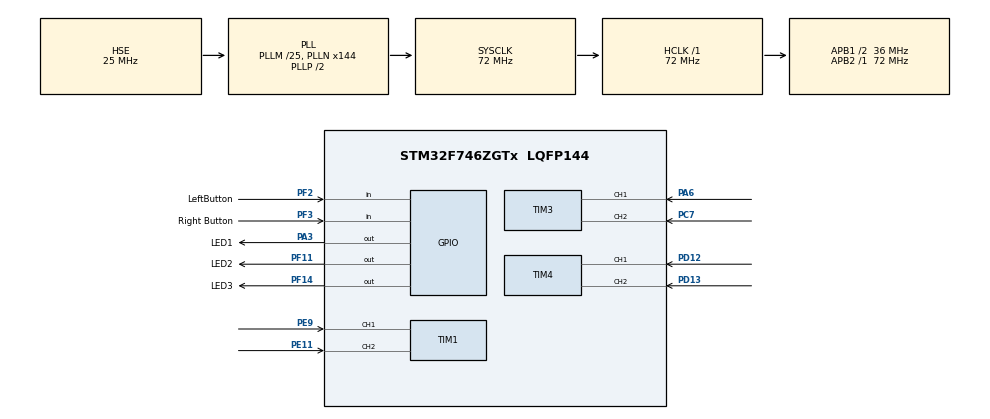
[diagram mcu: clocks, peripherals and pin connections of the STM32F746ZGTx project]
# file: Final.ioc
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Mcu.Family=STM32F7
Mcu.Name=STM32F746ZGTx
Mcu.Package=LQFP144
NVIC.PriorityGroup=NVIC_PRIORITYGROUP_4
NVIC.RCC_IRQn=true\:0\:0\:false\:false\:true\:true\:false\:true
NVIC.TIM8_TRG_COM_TIM14_IRQn=true\:0\:0\:false\:false\:true\:true\:true\:true
PA13.Mode=Serial_Wire
PA13.Signal=SYS_JTMS-SWDIO
PA14.Mode=Serial_Wire
PA14.Signal=SYS_JTCK-SWCLK
PA3.GPIO_Label=LED1
PA3.Signal=GPIO_Output
PA6.Signal=S_TIM3_CH1
PC7.Signal=S_TIM3_CH2
PD12.Signal=S_TIM4_CH1
PD13.Signal=S_TIM4_CH2
PE11.Signal=S_TIM1_CH2
PE9.Signal=S_TIM1_CH1
PF11.GPIO_Label=LED2
PF11.Signal=GPIO_Output
PF14.GPIO_Label=LED3
PF14.Signal=GPIO_Output
PF2.GPIO_Label=LeftButton
PF2.Signal=GPIO_Input
PF3.GPIO_Label=Right Button
PF3.Signal=GPIO_Input
PH0/OSC_IN.Mode=HSE-External-Oscillator
PH0/OSC_IN.Signal=RCC_OSC_IN
PH1/OSC_OUT.Mode=HSE-External-Oscillator
PH1/OSC_OUT.Signal=RCC_OSC_OUT
ProjectManager.HeapSize=0x200
ProjectManager.StackSize=0x400
ProjectManager.TargetToolchain=STM32CubeIDE
RCC.AHBFreq_Value=72000000
RCC.APB1CLKDivider=RCC_HCLK_DIV2
RCC.APB1Freq_Value=36000000
RCC.APB1TimFreq_Value=72000000
RCC.APB2Freq_Value=72000000
RCC.APB2TimFreq_Value=72000000
RCC.CortexFreq_Value=72000000
RCC.HCLKFreq_Value=72000000
RCC.HSE_VALUE=25000000
RCC.HSI_VALUE=16000000
RCC.LSE_VALUE=32768
RCC.PLLM=25
RCC.PLLN=144
RCC.PLLSourceVirtual=RCC_PLLSOURCE_HSE
RCC.SYSCLKFreq_VALUE=72000000
RCC.SYSCLKSource=RCC_SYSCLKSOURCE_PLLCLK
RCC.USBFreq_Value=72000000
RCC.VCOOutputFreq_Value=144000000
SH.S_TIM1_CH1.0=TIM1_CH1,Encoder_Interface
SH.S_TIM1_CH2.0=TIM1_CH2,Encoder_Interface
SH.S_TIM3_CH1.0=TIM3_CH1,Encoder_Interface
SH.S_TIM3_CH2.0=TIM3_CH2,Encoder_Interface
SH.S_TIM4_CH1.0=TIM4_CH1,Encoder_Interface
SH.S_TIM4_CH2.0=TIM4_CH2,Encoder_Interface
TIM1.AutoReloadPreload=TIM_AUTORELOAD_PRELOAD_ENABLE
TIM1.EncoderMode=TIM_ENCODERMODE_TI12
TIM1.IC1Filter=10
TIM1.IC2Filter=10
TIM14.AutoReloadPreload=TIM_AUTORELOAD_PRELOAD_ENABLE
TIM14.Period=2000
TIM3.AutoReloadPreload=TIM_AUTORELOAD_PRELOAD_ENABLE
TIM3.EncoderMode=TIM_ENCODERMODE_TI12
TIM3.IC1Filter=10
TIM3.IC2Filter=10
TIM4.AutoReloadPreload=TIM_AUTORELOAD_PRELOAD_ENABLE
TIM4.EncoderMode=TIM_ENCODERMODE_TI12
TIM4.IC1Filter=10
TIM4.IC2Filter=10
VP_TIM14_VS_ClockSourceINT.Mode=Enable_Timer
board=custom

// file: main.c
/* USER CODE BEGIN Header */
/**
  ******************************************************************************
  * @file           : main.c
  * @brief          : Main program body
  ******************************************************************************
  * @attention
  *
  * Copyright (c) 2024 STMicroelectronics.
  * All rights reserved.
  *
  * This software is licensed under terms that can be found in the LICENSE file
  * in the root directory of this software component.
  * If no LICENSE file comes with this software, it is provided AS-IS.
  *
  ******************************************************************************
  */
/* USER CODE END Header */
#include "main.h"

/* USER CODE BEGIN Includes */
	#include "stdio.h"
/* USER CODE END Includes */

TIM_HandleTypeDef htim1;
TIM_HandleTypeDef htim3;
TIM_HandleTypeDef htim4;
TIM_HandleTypeDef htim14;

/* USER CODE BEGIN PV */
int select = 0; //LED Select
int state[2] = {0, 0}; //States for LR Buttons
int tDelay[3] = {50,50,50}; //Delays from Counters
int ConfLvl[2] = {0,0};
int ConfT = 250;
/* USER CODE END PV */

void SystemClock_Config(void);
static void MX_GPIO_Init(void);
static void MX_TIM1_Init(void);
static void MX_TIM14_Init(void);
static void MX_TIM3_Init(void);
static void MX_TIM4_Init(void);
/* USER CODE BEGIN PFP */

int _write(int file, char *ptr, int len)
{
  /* Implement your write code here. This is
     used by puts and printf for example */
  int i=0;
  for(i=0 ; i<len ; i++)
    ITM_SendChar((*ptr++));
  return len;
}

/* USER CODE END PFP */

int main(void)
{
  /* USER CODE BEGIN 1 */
  printf("Starting...");
  /* USER CODE END 1 */

  /* MCU Configuration--------------------------------------------------------*/

  /* Reset of all peripherals, Initializes the Flash interface and the Systick. */
  HAL_Init();

  /* Configure the system clock */
  SystemClock_Config();

  /* Initialize all configured peripherals */
  MX_GPIO_Init();
  MX_TIM1_Init();
  MX_TIM14_Init();
  MX_TIM3_Init();
  MX_TIM4_Init();
  /* USER CODE BEGIN 2 */
//  HAL_TIM_Base_Start_IT(&htim14);
//  HAL_TIM_Base_Start_IT(&htim13);
  HAL_TIM_Encoder_Start(&htim1, TIM_CHANNEL_ALL);
  HAL_TIM_Encoder_Start(&htim3, TIM_CHANNEL_ALL);
  HAL_TIM_Encoder_Start(&htim4, TIM_CHANNEL_ALL);
  HAL_TIM_Base_Start_IT(&htim14);
  /* USER CODE END 2 */

  /* Infinite loop */
  /* USER CODE BEGIN WHILE */
  //----- Test LEDS -----//
  HAL_GPIO_WritePin(GPIOA, GPIO_PIN_3, GPIO_PIN_SET);
  HAL_Delay(500);
  HAL_GPIO_WritePin(GPIOA, GPIO_PIN_3, GPIO_PIN_RESET);

  HAL_GPIO_WritePin(GPIOF, GPIO_PIN_11, GPIO_PIN_SET);
  HAL_Delay(500);
  HAL_GPIO_WritePin(GPIOF, GPIO_PIN_11, GPIO_PIN_RESET);

  HAL_GPIO_WritePin(GPIOF, GPIO_PIN_14, GPIO_PIN_SET);
  HAL_Delay(500);
  HAL_GPIO_WritePin(GPIOF, GPIO_PIN_14, GPIO_PIN_RESET);
  while (1)
  {
    /* USER CODE END WHILE */

    /* USER CODE BEGIN 3 */
// ----- Button Test ----- //
//	HAL_GPIO_TogglePin(GPIOF, GPIO_PIN_11);
//	HAL_GPIO_TogglePin(GPIOA, GPIO_PIN_3);
//	HAL_GPIO_TogglePin(GPIOF, GPIO_PIN_14);
//	HAL_Delay(250);
//	if(HAL_GPIO_ReadPin(GPIOF, GPIO_PIN_2) == 1){HAL_GPIO_TogglePin(GPIOA, GPIO_PIN_3);}
//	if(HAL_GPIO_ReadPin(GPIOF, GPIO_PIN_3) == 1){HAL_GPIO_TogglePin(GPIOA, GPIO_PIN_3);}

// ----- Encoder Test ----- //
	if(select == 0){ //RED
		HAL_GPIO_WritePin(GPIOF, GPIO_PIN_11, GPIO_PIN_RESET);
		HAL_GPIO_WritePin(GPIOF, GPIO_PIN_14, GPIO_PIN_RESET);

		if(TIM1->CNT < 1023){
			tDelay[0] = ((TIM1->CNT) << 3);
		}
		HAL_Delay(tDelay[0]);
		HAL_GPIO_TogglePin(GPIOA, GPIO_PIN_3);

	}
	if(select == 1) { //BLUE
		HAL_GPIO_WritePin(GPIOA, GPIO_PIN_3, GPIO_PIN_RESET);
		HAL_GPIO_WritePin(GPIOF, GPIO_PIN_14, GPIO_PIN_RESET);

		if(TIM3->CNT < 1023){
			tDelay[1] = ((TIM3->CNT) << 3);
		}
		HAL_Delay(tDelay[1]);
		HAL_GPIO_TogglePin(GPIOF, GPIO_PIN_11);

	}
	if(select == 2) { //GREEN
		HAL_GPIO_WritePin(GPIOA, GPIO_PIN_3, GPIO_PIN_RESET);
		HAL_GPIO_WritePin(GPIOF, GPIO_PIN_11, GPIO_PIN_RESET);

		if(TIM4->CNT < 1023){
			tDelay[2] = ((TIM4->CNT) << 3);
		}
		HAL_Delay(tDelay[2]);
		HAL_GPIO_TogglePin(GPIOF, GPIO_PIN_14);
	}

  }
  /* USER CODE END 3 */
}

void SystemClock_Config(void)
{
  RCC_OscInitTypeDef RCC_OscInitStruct = {0};
  RCC_ClkInitTypeDef RCC_ClkInitStruct = {0};

  /** Configure the main internal regulator output voltage
  */
  __HAL_RCC_PWR_CLK_ENABLE();
  __HAL_PWR_VOLTAGESCALING_CONFIG(PWR_REGULATOR_VOLTAGE_SCALE3);

  /** Initializes the RCC Oscillators according to the specified parameters
  * in the RCC_OscInitTypeDef structure.
  */
  RCC_OscInitStruct.OscillatorType = RCC_OSCILLATORTYPE_HSE;
  RCC_OscInitStruct.HSEState = RCC_HSE_ON;
  RCC_OscInitStruct.PLL.PLLState = RCC_PLL_ON;
  RCC_OscInitStruct.PLL.PLLSource = RCC_PLLSOURCE_HSE;
  RCC_OscInitStruct.PLL.PLLM = 25;
  RCC_OscInitStruct.PLL.PLLN = 144;
  RCC_OscInitStruct.PLL.PLLP = RCC_PLLP_DIV2;
  RCC_OscInitStruct.PLL.PLLQ = 2;
  if (HAL_RCC_OscConfig(&RCC_OscInitStruct) != HAL_OK)
  {
    Error_Handler();
  }

  /** Initializes the CPU, AHB and APB buses clocks
  */
  RCC_ClkInitStruct.ClockType = RCC_CLOCKTYPE_HCLK|RCC_CLOCKTYPE_SYSCLK
                              |RCC_CLOCKTYPE_PCLK1|RCC_CLOCKTYPE_PCLK2;
  RCC_ClkInitStruct.SYSCLKSource = RCC_SYSCLKSOURCE_PLLCLK;
  RCC_ClkInitStruct.AHBCLKDivider = RCC_SYSCLK_DIV1;
  RCC_ClkInitStruct.APB1CLKDivider = RCC_HCLK_DIV2;
  RCC_ClkInitStruct.APB2CLKDivider = RCC_HCLK_DIV1;

  if (HAL_RCC_ClockConfig(&RCC_ClkInitStruct, FLASH_LATENCY_2) != HAL_OK)
  {
    Error_Handler();
  }
}

static void MX_TIM1_Init(void)
{

  TIM_Encoder_InitTypeDef sConfig = {0};
  TIM_MasterConfigTypeDef sMasterConfig = {0};

  htim1.Instance = TIM1;
  htim1.Init.Prescaler = 0;
  htim1.Init.CounterMode = TIM_COUNTERMODE_UP;
  htim1.Init.Period = 65535;
  htim1.Init.ClockDivision = TIM_CLOCKDIVISION_DIV1;
  htim1.Init.RepetitionCounter = 0;
  htim1.Init.AutoReloadPreload = TIM_AUTORELOAD_PRELOAD_ENABLE;
  sConfig.EncoderMode = TIM_ENCODERMODE_TI12;
  sConfig.IC1Polarity = TIM_ICPOLARITY_RISING;
  sConfig.IC1Selection = TIM_ICSELECTION_DIRECTTI;
  sConfig.IC1Prescaler = TIM_ICPSC_DIV1;
  sConfig.IC1Filter = 10;
  sConfig.IC2Polarity = TIM_ICPOLARITY_RISING;
  sConfig.IC2Selection = TIM_ICSELECTION_DIRECTTI;
  sConfig.IC2Prescaler = TIM_ICPSC_DIV1;
  sConfig.IC2Filter = 10;
  if (HAL_TIM_Encoder_Init(&htim1, &sConfig) != HAL_OK)
  {
    Error_Handler();
  }
  sMasterConfig.MasterOutputTrigger = TIM_TRGO_RESET;
  sMasterConfig.MasterOutputTrigger2 = TIM_TRGO2_RESET;
  sMasterConfig.MasterSlaveMode = TIM_MASTERSLAVEMODE_DISABLE;
  if (HAL_TIMEx_MasterConfigSynchronization(&htim1, &sMasterConfig) != HAL_OK)
  {
    Error_Handler();
  }

}

static void MX_TIM3_Init(void)
{

  TIM_Encoder_InitTypeDef sConfig = {0};
  TIM_MasterConfigTypeDef sMasterConfig = {0};

  htim3.Instance = TIM3;
  htim3.Init.Prescaler = 0;
  htim3.Init.CounterMode = TIM_COUNTERMODE_UP;
  htim3.Init.Period = 65535;
  htim3.Init.ClockDivision = TIM_CLOCKDIVISION_DIV1;
  htim3.Init.AutoReloadPreload = TIM_AUTORELOAD_PRELOAD_ENABLE;
  sConfig.EncoderMode = TIM_ENCODERMODE_TI12;
  sConfig.IC1Polarity = TIM_ICPOLARITY_RISING;
  sConfig.IC1Selection = TIM_ICSELECTION_DIRECTTI;
  sConfig.IC1Prescaler = TIM_ICPSC_DIV1;
  sConfig.IC1Filter = 10;
  sConfig.IC2Polarity = TIM_ICPOLARITY_RISING;
  sConfig.IC2Selection = TIM_ICSELECTION_DIRECTTI;
  sConfig.IC2Prescaler = TIM_ICPSC_DIV1;
  sConfig.IC2Filter = 10;
  if (HAL_TIM_Encoder_Init(&htim3, &sConfig) != HAL_OK)
  {
    Error_Handler();
  }
  sMasterConfig.MasterOutputTrigger = TIM_TRGO_RESET;
  sMasterConfig.MasterSlaveMode = TIM_MASTERSLAVEMODE_DISABLE;
  if (HAL_TIMEx_MasterConfigSynchronization(&htim3, &sMasterConfig) != HAL_OK)
  {
    Error_Handler();
  }

}

static void MX_TIM4_Init(void)
{

  TIM_Encoder_InitTypeDef sConfig = {0};
  TIM_MasterConfigTypeDef sMasterConfig = {0};

  htim4.Instance = TIM4;
  htim4.Init.Prescaler = 0;
  htim4.Init.CounterMode = TIM_COUNTERMODE_UP;
  htim4.Init.Period = 65535;
  htim4.Init.ClockDivision = TIM_CLOCKDIVISION_DIV1;
  htim4.Init.AutoReloadPreload = TIM_AUTORELOAD_PRELOAD_ENABLE;
  sConfig.EncoderMode = TIM_ENCODERMODE_TI12;
  sConfig.IC1Polarity = TIM_ICPOLARITY_RISING;
  sConfig.IC1Selection = TIM_ICSELECTION_DIRECTTI;
  sConfig.IC1Prescaler = TIM_ICPSC_DIV1;
  sConfig.IC1Filter = 10;
  sConfig.IC2Polarity = TIM_ICPOLARITY_RISING;
  sConfig.IC2Selection = TIM_ICSELECTION_DIRECTTI;
  sConfig.IC2Prescaler = TIM_ICPSC_DIV1;
  sConfig.IC2Filter = 10;
  if (HAL_TIM_Encoder_Init(&htim4, &sConfig) != HAL_OK)
  {
    Error_Handler();
  }
  sMasterConfig.MasterOutputTrigger = TIM_TRGO_RESET;
  sMasterConfig.MasterSlaveMode = TIM_MASTERSLAVEMODE_DISABLE;
  if (HAL_TIMEx_MasterConfigSynchronization(&htim4, &sMasterConfig) != HAL_OK)
  {
    Error_Handler();
  }

}

static void MX_TIM14_Init(void)
{

  htim14.Instance = TIM14;
  htim14.Init.Prescaler = 0;
  htim14.Init.CounterMode = TIM_COUNTERMODE_UP;
  htim14.Init.Period = 2000;
  htim14.Init.ClockDivision = TIM_CLOCKDIVISION_DIV1;
  htim14.Init.AutoReloadPreload = TIM_AUTORELOAD_PRELOAD_ENABLE;
  if (HAL_TIM_Base_Init(&htim14) != HAL_OK)
  {
    Error_Handler();
  }

}

static void MX_GPIO_Init(void)
{
  GPIO_InitTypeDef GPIO_InitStruct = {0};

  /* GPIO Ports Clock Enable */
  __HAL_RCC_GPIOF_CLK_ENABLE();
  __HAL_RCC_GPIOH_CLK_ENABLE();
  __HAL_RCC_GPIOA_CLK_ENABLE();
  __HAL_RCC_GPIOE_CLK_ENABLE();
  __HAL_RCC_GPIOD_CLK_ENABLE();
  __HAL_RCC_GPIOC_CLK_ENABLE();

  /*Configure GPIO pin Output Level */
  HAL_GPIO_WritePin(LED1_GPIO_Port, LED1_Pin, GPIO_PIN_RESET);

  /*Configure GPIO pin Output Level */
  HAL_GPIO_WritePin(GPIOF, LED2_Pin|LED3_Pin, GPIO_PIN_RESET);

  /*Configure GPIO pins : LeftButton_Pin Right_Button_Pin */
  GPIO_InitStruct.Pin = LeftButton_Pin|Right_Button_Pin;
  GPIO_InitStruct.Mode = GPIO_MODE_INPUT;
  GPIO_InitStruct.Pull = GPIO_NOPULL;
  HAL_GPIO_Init(GPIOF, &GPIO_InitStruct);

  /*Configure GPIO pin : LED1_Pin */
  GPIO_InitStruct.Pin = LED1_Pin;
  GPIO_InitStruct.Mode = GPIO_MODE_OUTPUT_PP;
  GPIO_InitStruct.Pull = GPIO_NOPULL;
  GPIO_InitStruct.Speed = GPIO_SPEED_FREQ_LOW;
  HAL_GPIO_Init(LED1_GPIO_Port, &GPIO_InitStruct);

  /*Configure GPIO pins : LED2_Pin LED3_Pin */
  GPIO_InitStruct.Pin = LED2_Pin|LED3_Pin;
  GPIO_InitStruct.Mode = GPIO_MODE_OUTPUT_PP;
  GPIO_InitStruct.Pull = GPIO_NOPULL;
  GPIO_InitStruct.Speed = GPIO_SPEED_FREQ_LOW;
  HAL_GPIO_Init(GPIOF, &GPIO_InitStruct);

}

/* USER CODE BEGIN 4 */
void crement_select(int way){
	if(select == 0 && (way == -1)){select = 2;}
	else if(select == 2 && (way == 1)){select = 0;}
	else select = select + way;
}

void HAL_GPIO_EXTI_Callback(uint16_t GPIO_Pin){
}

void HAL_TIM_PeriodElapsedCallback(TIM_HandleTypeDef *htim){
  // Check which version of the timer triggered this callback and toggle LED
  if (htim == &htim14){
	if((HAL_GPIO_ReadPin(GPIOF, GPIO_PIN_2) == 1)){
		ConfLvl[0]++;
		if(ConfLvl[0] > ConfT){
			while(HAL_GPIO_ReadPin(GPIOF, GPIO_PIN_2) == 1)
			ConfLvl[0] = 0;
			crement_select(-1);
		}
	}
  	if(HAL_GPIO_ReadPin(GPIOF, GPIO_PIN_3) == 1){
		ConfLvl[1]++;
		if(ConfLvl[1] > ConfT){
			while(HAL_GPIO_ReadPin(GPIOF, GPIO_PIN_3) == 1)
			ConfLvl[1] = 0;
			crement_select(1);
		}
  	}
  }

}
/* USER CODE END 4 */

void Error_Handler(void)
{
  __disable_irq();
  while (1)
  {
  }
}
